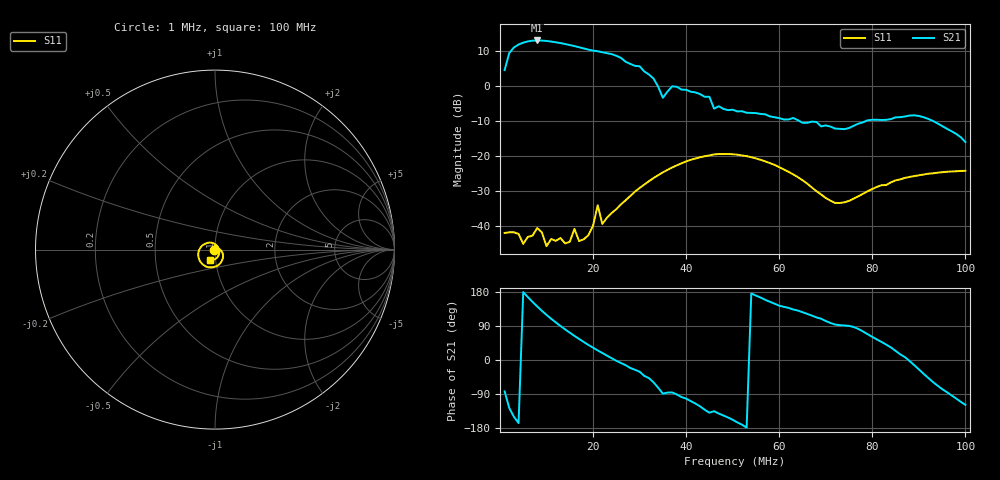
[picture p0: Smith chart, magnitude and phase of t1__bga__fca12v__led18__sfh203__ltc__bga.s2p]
# HZ S RI R 50
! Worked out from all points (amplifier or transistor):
!   100 points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, 1 MHz to 100 MHz, reference 50 ohm
!   highest |S21| = 13.0 dB at 8 MHz (marker M1)
!   |S21| within 3 dB of that: 2.369 MHz to 20.6 MHz (18.23 MHz wide, 159 % of centre)
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1000001  -0.00798 0.000106  0.2144 -1.673  0 0  0 0
2000001  -0.0081 0.000944  -1.771 -2.369  0 0  0 0
3000001  -0.00811 0.000987  -3.071 -1.791  0 0  0 0
4000001  -0.00758 0.00158  -3.802 -0.9189  0 0  0 0
6000001  -0.00672 0.002  -4.209 1.05  0 0  0 0
8000001  -0.00898 0.00274  -3.491 2.793  0 0  0 0
1e7  -0.00417 0.00306  -2.135 3.843  0 0  0 0
1.2e7  -0.00482 0.00382  -0.6689 4.157  0 0  0 0
1.5e7  -0.00269 0.00534  1.182 3.66  0 0  0 0
1.8e7  0.000632 0.00644  2.321 2.538  0 0  0 0
2.1e7  -0.0021 0.0197  2.836 1.336  0 0  0 0
2.2e7  0.00156 0.0106  2.879 0.963  0 0  0 0
2.4e7  0.0139 0.00665  2.843 0.2333  0 0  0 0
3e7  0.0345 -0.00603  1.644 -0.9815  0 0  0 0
3.4e7  0.0444 -0.0297  0.2801 -0.9335  0 0  0 0
4.5e7  -0.0267 -0.0987  -0.5303 -0.4599  0 0  0 0
5.1e7  -0.087 -0.0583  -0.4181 -0.1144  0 0  0 0
6.7e7  -0.00832 0.0347  -0.142 0.2755  0 0  0 0
7.3e7  0.0192 0.00947  -0.0082 0.2445  0 0  0 0
8.4e7  0.0152 -0.0394  0.2828 0.1843  0 0  0 0
9.3e7  -0.00816 -0.0561  0.1691 -0.2692  0 0  0 0
1e8  -0.0257 -0.0559  -0.0754 -0.1396  0 0  0 0
